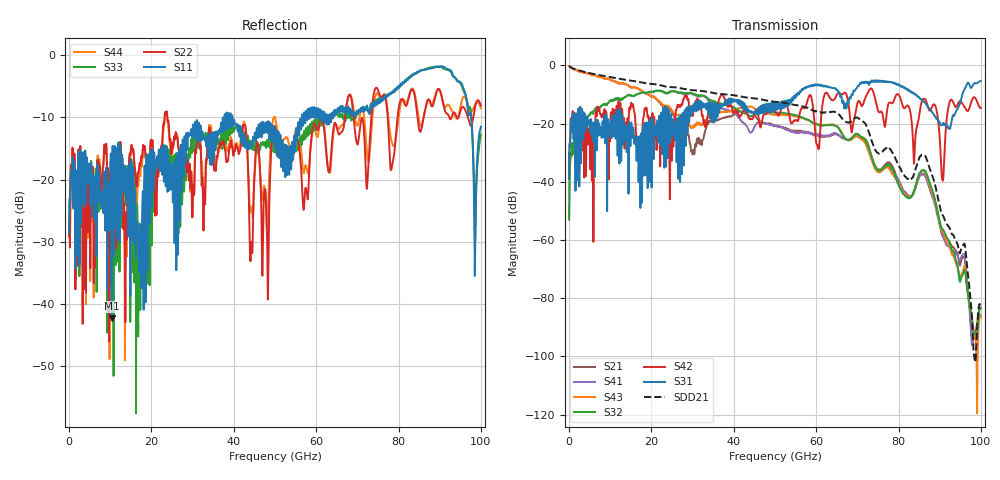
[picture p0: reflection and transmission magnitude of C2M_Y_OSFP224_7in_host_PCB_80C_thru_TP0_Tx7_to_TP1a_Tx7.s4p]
# GHz S RI R 45
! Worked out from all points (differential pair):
!   4000 points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, 25 MHz to 100 GHz, reference 45 ohm
!   strongest paths, dB at 25 MHz, 25.02 GHz, 50.02 GHz, 75.03 GHz, 100 GHz:
!     S31: -39.0, -21.4, -13.8, -5.5, -5.3
!     S42: -38.9, -28.8, -16.1, -15.6, -14.6
!     S32: -52.9, -8.9, -16.2, -35.9, -83.4
!     S43: -0.3, -15.7, -17.0, -36.6, -86.5
!     S41: -52.9, -8.9, -20.6, -36.3, -86.4
!     S21: -0.3, -16.4, -20.7, -35.7, -83.3
!   taken as a pair (ports 3,1 in; 4,2 out), SDD21 dB: -0.3, -7.5, -12.5, -30.1, -83.3
!   lowest |S11| = -42.3 dB at 10.35 GHz (marker M1), VSWR 1.02, Z = 45.5 - j0.432 ohm
!   |S11| at or under -10 dB: start of sweep to 37.36 GHz; 39.71 GHz to 56.52 GHz (16.81 GHz wide, 34.9 % of centre); 97.62 GHz to end of sweep (the widest 3 of 23)
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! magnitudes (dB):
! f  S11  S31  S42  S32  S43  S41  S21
! 25 MHz  -28.7  -39.0  -38.9  -52.9  -0.3  -52.9  -0.3
! 10.35 GHz  -42.3  -25.0  -19.4  -12.0  -5.1  -12.0  -5.1
! 70.15 GHz  -9.3  -7.0  -12.6  -23.6  -24.3  -24.5  -23.8
! 88.7 GHz  -2.0  -17.4  -13.5  -45.2  -46.2  -47.3  -46.1
! 90.67 GHz  -1.7  -20.4  -39.5  -56.3  -56.9  -58.7  -57.9
! 92.6 GHz  -2.4  -21.4  -12.0  -61.8  -63.2  -62.9  -61.3
! 100 GHz  -11.5  -5.3  -14.6  -83.4  -86.5  -86.4  -83.3
